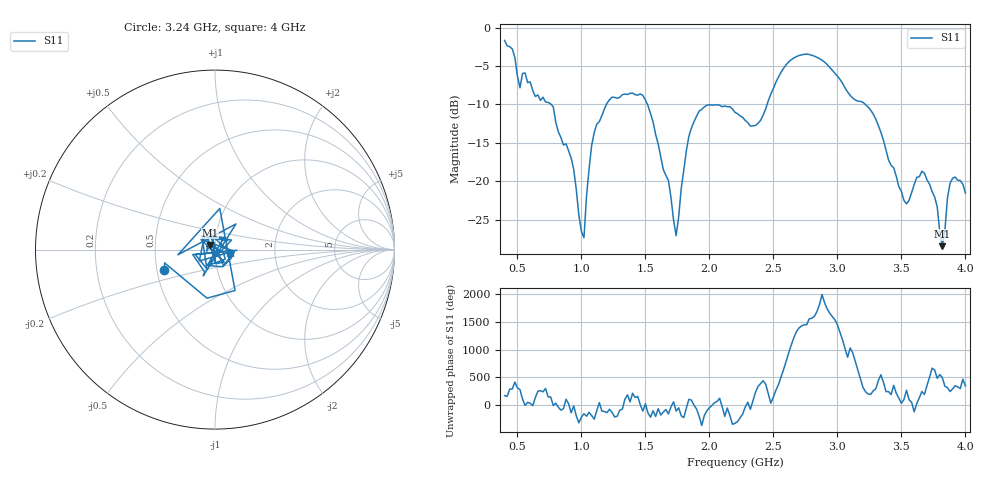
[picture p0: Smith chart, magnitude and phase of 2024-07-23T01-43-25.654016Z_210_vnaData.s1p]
!Created with skrf (http://scikit-rf.org).
# Hz S RI R 50.0
!freq ReS11 ImS11
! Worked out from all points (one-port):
!   181 points, 400 MHz to 4 GHz, reference 50 ohm
!   lowest |S11| = -28.4 dB at 3.82 GHz (marker M1), VSWR 1.08, Z = 47.2 + j2.43 ohm
!   |S11| at or under -10 dB: 764.2 MHz to 1.195 GHz (431.1 MHz wide, 44 % of centre); 1.516 GHz to 2.451 GHz (934.9 MHz wide, 47.1 % of centre); 3.219 GHz to end of sweep
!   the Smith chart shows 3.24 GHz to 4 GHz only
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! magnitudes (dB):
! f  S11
! 400 MHz  -1.7
! 520 MHz  -7.8
! 560 MHz  -5.9
! 780 MHz  -10.3
! 860 MHz  -15.3
! 920 MHz  -17.0
! 1.02 GHz  -27.3
! 1.06 GHz  -18.4
! 1.1 GHz  -13.7
! 1.3 GHz  -9.1
! 1.5 GHz  -9.4
! 1.68 GHz  -19.9
! 1.74 GHz  -27.1
! 1.76 GHz  -24.6
! 1.84 GHz  -14.1
! 1.92 GHz  -10.9
! 2.2 GHz  -11.0
! 2.38 GHz  -12.5
! 2.66 GHz  -3.9
! 2.88 GHz  -4.2
! 3.1 GHz  -8.8
! 3.28 GHz  -11.2
! 3.56 GHz  -22.5
! 3.68 GHz  -18.9
! 3.78 GHz  -23.3
! 3.82 GHz  -28.4
! 3.88 GHz  -20.3
! 4 GHz  -21.5
